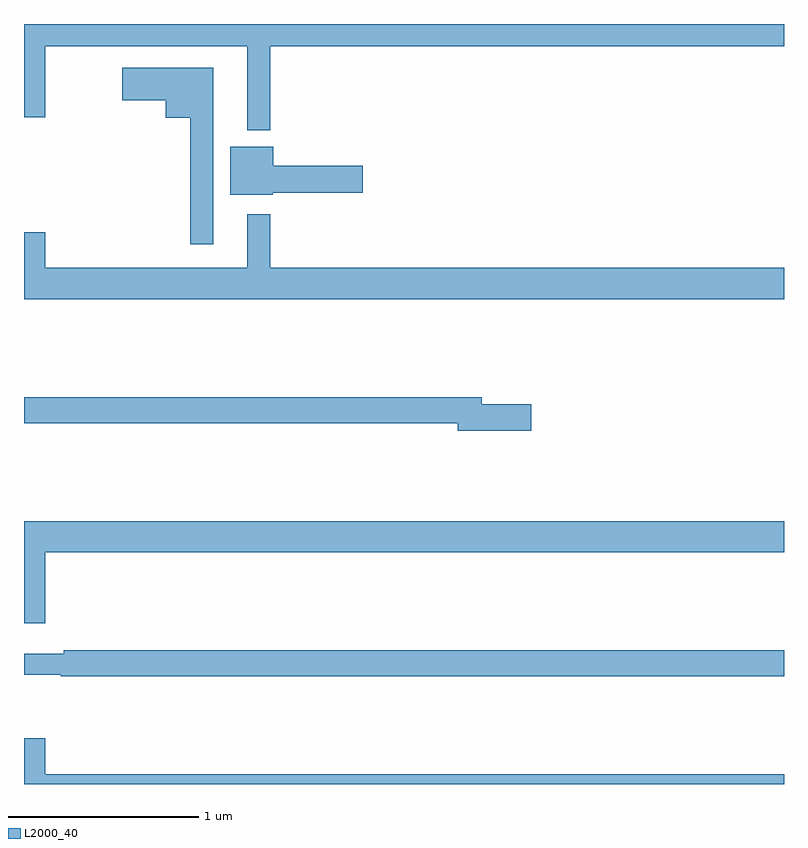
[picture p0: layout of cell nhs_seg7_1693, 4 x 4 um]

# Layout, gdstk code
import gdstk
lib = gdstk.Library(unit=1e-6, precision=1e-09)
def P(c, l, *ps):  # polygons
    for p in ps: c.add(gdstk.Polygon(p, *l))
L2000_40 = (2000, 40)

nhs_seg7_1693 = lib.new_cell('nhs_seg7_1693')
P(nhs_seg7_1693, L2000_40, [(226.297,1065.884),(229,1065.884),(229,1066),(225,1066),(225,1065.51),(225.112,1065.51),(225.112,1065.884),(226.175,1065.884),(226.175,1065.44),(226.297,1065.44)],
  [(225.997,1065.769),(225.516,1065.769),(225.516,1065.599),(225.746,1065.599),(225.746,1065.506),(225.876,1065.506),(225.876,1064.841),(225.997,1064.841)],
  [(226.308,1065.112),(226.783,1065.112),(226.783,1065.254),(226.312,1065.254),(226.312,1065.355),(226.085,1065.355),(226.085,1065.101),(226.308,1065.101)],
  [(229,1064.716),(226.297,1064.716),(226.297,1064.998),(226.175,1064.998),(226.175,1064.716),(225.112,1064.716),(225.112,1064.905),(225,1064.905),(225,1064.552),(229,1064.552)],
  [(227.671,1064),(227.41,1064),(227.41,1064.036),(225,1064.036),(225,1063.9),(227.282,1063.9),(227.282,1063.858),(227.671,1063.858)],
  [(225.112,1063.22),(229,1063.22),(229,1063.384),(225,1063.384),(225,1062.846),(225.112,1062.846)],
  [(229,1062.704),(225.208,1062.704),(225.208,1062.685),(225,1062.685),(225,1062.576),(225.194,1062.576),(225.194,1062.568),(229,1062.568)],
  [(229,1062.052),(225.112,1062.052),(225.112,1062.241),(225,1062.241),(225,1062),(229,1062)])

lib.write_gds('nhs_seg7_1693.gds')
